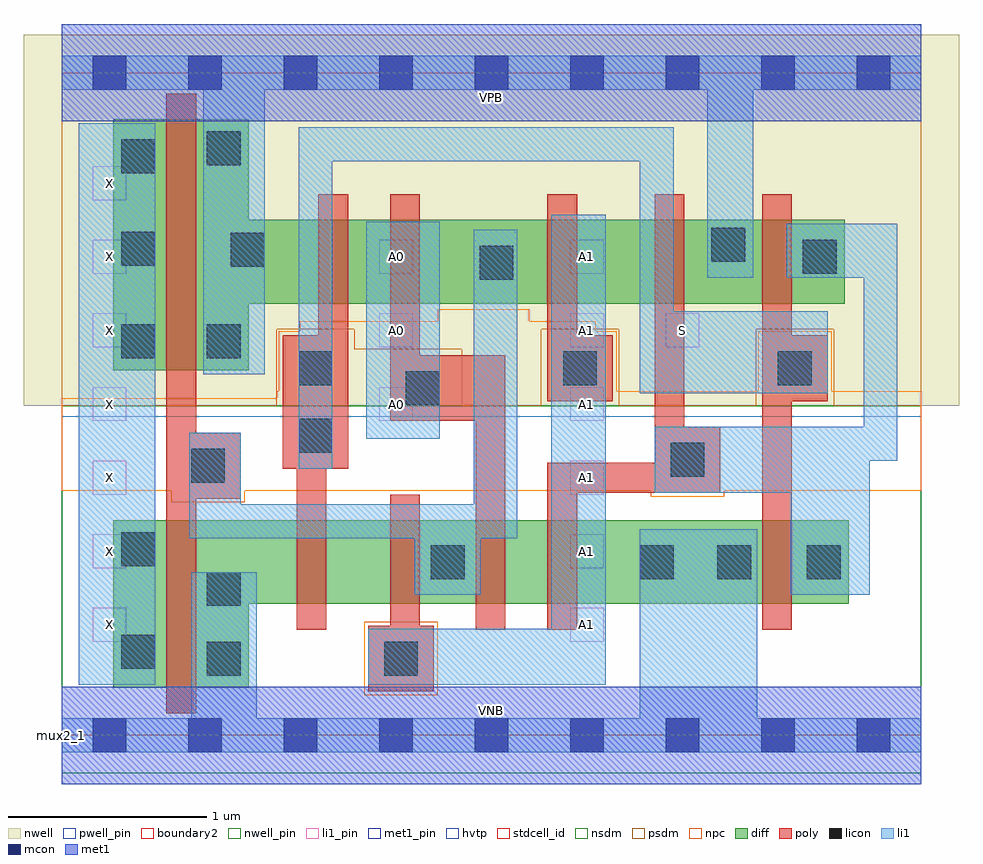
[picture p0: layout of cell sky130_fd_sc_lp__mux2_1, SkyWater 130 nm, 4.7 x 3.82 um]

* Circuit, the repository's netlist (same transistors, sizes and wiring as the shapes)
* Copyright 2020 The SkyWater PDK Authors
*
* Licensed under the Apache License, Version 2.0 (the "License");
* you may not use this file except in compliance with the License.
* You may obtain a copy of the License at
*
*     https://www.apache.org/licenses/LICENSE-2.0
*
* Unless required by applicable law or agreed to in writing, software
* distributed under the License is distributed on an "AS IS" BASIS,
* WITHOUT WARRANTIES OR CONDITIONS OF ANY KIND, either express or implied.
* See the License for the specific language governing permissions and
* limitations under the License.
*
* SPDX-License-Identifier: Apache-2.0

.SUBCKT sky130_fd_sc_lp__mux2_1 A0 A1 S VGND VNB VPB VPWR X
*.PININFO A0:I A1:I S:I VGND:I VNB:I VPB:I VPWR:I X:O
MMNA00 xb A0 smdNA0 VNB sky130_fd_pr__nfet_01v8 m=1 w=0.42U l=0.15U mult=1 sa=0.265
+ sb=0.265 sd=0.28 area=0.063 perim=1.14
MMNA01 smdNA0 Sb VGND VNB sky130_fd_pr__nfet_01v8 m=1 w=0.42U l=0.15U mult=1 sa=0.265
+ sb=0.265 sd=0.28 area=0.063 perim=1.14
MMNA10 xb A1 sndNA1 VNB sky130_fd_pr__nfet_01v8 m=1 w=0.42U l=0.15U mult=1 sa=0.265
+ sb=0.265 sd=0.28 area=0.063 perim=1.14
MMNA11 sndNA1 S VGND VNB sky130_fd_pr__nfet_01v8 m=1 w=0.42U l=0.15U mult=1 sa=0.265
+ sb=0.265 sd=0.28 area=0.063 perim=1.14
MMIN1 Sb S VGND VNB sky130_fd_pr__nfet_01v8 m=1 w=0.42U l=0.15U mult=1 sa=0.265
+ sb=0.265 sd=0.28 area=0.063 perim=1.14
MMIN2 X xb VGND VNB sky130_fd_pr__nfet_01v8 m=1 w=0.84U l=0.15U mult=1 sa=0.265
+ sb=0.265 sd=0.28 area=0.063 perim=1.14
MMPA00 VPWR S sndPS VPB sky130_fd_pr__pfet_01v8_hvt m=1 w=0.42U l=0.15U mult=1
+ sa=0.265 sb=0.265 sd=0.28 area=0.063 perim=1.14
MMPA01 sndPS A0 xb VPB sky130_fd_pr__pfet_01v8_hvt m=1 w=0.42U l=0.15U mult=1 sa=0.265
+ sb=0.265 sd=0.28 area=0.063 perim=1.14
MMPA10 VPWR Sb sndPSb VPB sky130_fd_pr__pfet_01v8_hvt m=1 w=0.42U l=0.15U mult=1
+ sa=0.265 sb=0.265 sd=0.28 area=0.063 perim=1.14
MMPA11 sndPSb A1 xb VPB sky130_fd_pr__pfet_01v8_hvt m=1 w=0.42U l=0.15U mult=1
+ sa=0.265 sb=0.265 sd=0.28 area=0.063 perim=1.14
MMIP1 Sb S VPWR VPB sky130_fd_pr__pfet_01v8_hvt m=1 w=0.42U l=0.15U mult=1 sa=0.265
+ sb=0.265 sd=0.28 area=0.063 perim=1.14
MMIP2 X xb VPWR VPB sky130_fd_pr__pfet_01v8_hvt m=1 w=1.26U l=0.15U mult=1 sa=0.265
+ sb=0.265 sd=0.28 area=0.063 perim=1.14
.ENDS sky130_fd_sc_lp__mux2_1

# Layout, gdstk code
import gdstk
lib = gdstk.Library(unit=1e-6, precision=1e-09)
def R(c, l, rs):  # rectangles x0, y0, x1, y1
    for r in rs: c.add(gdstk.rectangle(r[:2], r[2:], *l))
def A(c, l, x, y, w, h, nx, ny, dx, dy):  # array of equal rectangles
    R(c, l, [(x+i*dx, y+j*dy, x+i*dx+w, y+j*dy+h) for i in range(nx) for j in range(ny)])
def P(c, l, *ps):  # polygons
    for p in ps: c.add(gdstk.Polygon(p, *l))
nwell_pin = (64, 16)
nwell = (64, 20)
diff = (65, 20)
poly = (66, 20)
licon = (66, 44)
li1_pin = (67, 16)
li1 = (67, 20)
mcon = (67, 44)
met1_pin = (68, 16)
met1 = (68, 20)
hvtp = (78, 44)
stdcell_id = (81, 4)
nsdm = (93, 44)
psdm = (94, 20)
npc = (95, 20)
pwell_pin = (122, 16)
boundary2 = (236, 0)

sky130_fd_sc_lp__mux2_1 = lib.new_cell('sky130_fd_sc_lp__mux2_1')
R(sky130_fd_sc_lp__mux2_1, nwell_pin, [(0,3.085,4.32,3.33)])
R(sky130_fd_sc_lp__mux2_1, nwell, [(-0.19,1.655,4.51,3.52)])
P(sky130_fd_sc_lp__mux2_1, diff, [(3.935,2.59),(0.94,2.59),(0.94,3.095),(0.26,3.095),(0.26,1.835),(0.94,1.835),(0.94,2.17),(3.935,2.17)],
  [(3.955,1.08),(0.26,1.08),(0.26,0.24),(0.94,0.24),(0.94,0.66),(3.955,0.66)])
P(sky130_fd_sc_lp__mux2_1, poly, [(0.9,1.52),(0.675,1.52),(0.675,3.225),(0.525,3.225),(0.525,0.11),(0.675,0.11),(0.675,1.19),(0.9,1.19)],
  [(1.44,2.72),(1.29,2.72),(1.29,2.01),(1.11,2.01),(1.11,1.34),(1.18,1.34),(1.18,0.53),(1.33,0.53),(1.33,1.34),(1.44,1.34)],
  [(1.87,0.55),(1.8,0.55),(1.8,1.21),(1.65,1.21),(1.65,0.55),(1.54,0.55),(1.54,0.22),(1.87,0.22)],
  [(2.23,1.91),(1.8,1.91),(1.8,2.72),(1.65,2.72),(1.65,1.58),(2.08,1.58),(2.08,0.53),(2.23,0.53)],
  [(2.77,2.01),(2.59,2.01),(2.59,2.72),(2.44,2.72),(2.44,1.68),(2.77,1.68)],
  [(3.31,1.55),(3.13,1.55),(3.13,2.72),(2.98,2.72),(2.98,1.37),(2.44,1.37),(2.44,0.53),(2.59,0.53),(2.59,1.22),(3.31,1.22)],
  [(3.85,2.01),(3.67,2.01),(3.67,2.72),(3.52,2.72),(3.52,0.53),(3.67,0.53),(3.67,1.68),(3.85,1.68)])
A(sky130_fd_sc_lp__mux2_1, licon, 0.3, 1.895, 0.17, 0.17, 1, 3, 0, 0.465)
R(sky130_fd_sc_lp__mux2_1, licon, [(0.73,0.3,0.9,0.47), (1.62,0.3,1.79,0.47), (0.3,0.335,0.47,0.505), (0.73,0.65,0.9,0.82), (1.855,0.785,2.025,0.955), (2.905,0.785,3.075,0.955), (3.295,0.785,3.465,0.955), (3.745,0.785,3.915,0.955), (0.3,0.85,0.47,1.02), (0.65,1.27,0.82,1.44), (3.06,1.3,3.23,1.47), (1.19,1.42,1.36,1.59), (1.73,1.66,1.9,1.83), (1.19,1.76,1.36,1.93), (2.52,1.76,2.69,1.93), (3.6,1.76,3.77,1.93), (0.73,1.895,0.9,2.065), (2.1,2.29,2.27,2.46), (3.725,2.32,3.895,2.49), (0.85,2.355,1.02,2.525), (3.265,2.38,3.435,2.55), (0.73,2.865,0.9,3.035)])
A(sky130_fd_sc_lp__mux2_1, li1_pin, 0.155, 0.47, 0.17, 0.17, 1, 7, 0, 0.37)
A(sky130_fd_sc_lp__mux2_1, li1_pin, 2.555, 0.47, 0.17, 0.17, 1, 6, 0, 0.37)
A(sky130_fd_sc_lp__mux2_1, li1_pin, 1.595, 1.58, 0.17, 0.17, 1, 3, 0, 0.37)
R(sky130_fd_sc_lp__mux2_1, li1_pin, [(3.035,1.95,3.205,2.12)])
R(sky130_fd_sc_lp__mux2_1, li1, [(0.085,0.255,0.47,3.075), (1.53,1.49,1.9,2.58)])
P(sky130_fd_sc_lp__mux2_1, li1, [(0.71,1.815),(0.71,3.245),(0,3.245),(0,3.415),(4.32,3.415),(4.32,3.245),(3.475,3.245),(3.475,2.3),(3.245,2.3),(3.245,3.245),(1.02,3.245),(1.02,1.815)],
  [(0.65,0.085),(0.65,0.82),(0.98,0.82),(0.98,0.085),(2.905,0.085),(2.905,1.035),(3.495,1.035),(3.495,0.085),(4.32,0.085),(4.32,-0.085),(0,-0.085),(0,0.085)],
  [(2.905,1.72),(2.905,2.885),(1.36,2.885),(1.36,1.34),(1.19,1.34),(1.19,3.055),(3.075,3.055),(3.075,2.13),(3.85,2.13),(3.85,1.72)],
  [(4.03,1.55),(4.03,2.3),(3.645,2.3),(3.645,2.57),(4.2,2.57),(4.2,1.38),(4.06,1.38),(4.06,0.705),(3.665,0.705),(3.665,1.22),(2.98,1.22),(2.98,1.55)],
  [(2.46,0.535),(2.46,2.615),(2.735,2.615),(2.735,0.255),(1.54,0.255),(1.54,0.535)],
  [(2.07,1.16),(2.07,2.54),(2.29,2.54),(2.29,0.99),(2.105,0.99),(2.105,0.705),(1.775,0.705),(1.775,0.99),(0.64,0.99),(0.64,1.52),(0.9,1.52),(0.9,1.16)])
A(sky130_fd_sc_lp__mux2_1, mcon, 0.155, -0.085, 0.17, 0.17, 9, 2, 0.48, 3.33)
R(sky130_fd_sc_lp__mux2_1, met1_pin, [(0,0,4.32,0.245), (0,3.085,4.32,3.33)])
R(sky130_fd_sc_lp__mux2_1, met1, [(0,-0.245,4.32,0.245), (0,3.085,4.32,3.575)])
R(sky130_fd_sc_lp__mux2_1, hvtp, [(0,1.6,4.32,3.33)])
R(sky130_fd_sc_lp__mux2_1, stdcell_id, [(0,0,4.32,3.33)])
R(sky130_fd_sc_lp__mux2_1, nsdm, [(0,-0.19,4.32,1.655)])
P(sky130_fd_sc_lp__mux2_1, psdm, [(4.32,3.52),(0,3.52),(0,1.655),(1.08,1.655),(1.08,2.04),(1.47,2.04),(1.47,1.94),(2.01,1.94),(2.01,1.655),(2.41,1.655),(2.41,2.04),(2.8,2.04),(2.8,1.655),(3.49,1.655),(3.49,2.04),(3.88,2.04),(3.88,1.655),(4.32,1.655)])
R(sky130_fd_sc_lp__mux2_1, npc, [(1.52,0.2,1.89,0.57)])
P(sky130_fd_sc_lp__mux2_1, npc, [(4.32,1.73),(3.87,1.73),(3.87,2.03),(3.5,2.03),(3.5,1.73),(2.79,1.73),(2.79,2.03),(2.685,2.03),(2.685,2.08),(2.35,2.08),(2.35,2.14),(1.89,2.14),(1.89,2.08),(1.195,2.08),(1.195,2.03),(1.09,2.03),(1.09,1.73),(1.08,1.73),(1.08,1.695),(0,1.695),(0,1.23),(0.55,1.23),(0.55,1.17),(0.92,1.17),(0.92,1.23),(2.96,1.23),(2.96,1.2),(3.33,1.2),(3.33,1.23),(4.32,1.23)])
R(sky130_fd_sc_lp__mux2_1, pwell_pin, [(0,0,4.32,0.245)])
R(sky130_fd_sc_lp__mux2_1, boundary2, [(0,0,4.32,3.33)])
sky130_fd_sc_lp__mux2_1.add(gdstk.Label('VNB', (2.16,0.123), layer=64, texttype=59))
sky130_fd_sc_lp__mux2_1.add(gdstk.Label('VPB', (2.16,3.208), layer=64, texttype=5))
sky130_fd_sc_lp__mux2_1.add(gdstk.Label('mux2_1', (0,0), layer=83, texttype=44))
sky130_fd_sc_lp__mux2_1.add(gdstk.Label('VPWR', (2.16,3.208), layer=68, texttype=5))
sky130_fd_sc_lp__mux2_1.add(gdstk.Label('VGND', (2.16,0.123), layer=68, texttype=5))
sky130_fd_sc_lp__mux2_1.add(gdstk.Label('S', (3.12,2.035), layer=67, texttype=5))
sky130_fd_sc_lp__mux2_1.add(gdstk.Label('A0', (1.68,1.665), layer=67, texttype=5))
sky130_fd_sc_lp__mux2_1.add(gdstk.Label('A0', (1.68,2.035), layer=67, texttype=5))
sky130_fd_sc_lp__mux2_1.add(gdstk.Label('A0', (1.68,2.405), layer=67, texttype=5))
sky130_fd_sc_lp__mux2_1.add(gdstk.Label('X', (0.24,0.555), layer=67, texttype=5))
sky130_fd_sc_lp__mux2_1.add(gdstk.Label('X', (0.24,0.925), layer=67, texttype=5))
sky130_fd_sc_lp__mux2_1.add(gdstk.Label('X', (0.24,1.295), layer=67, texttype=5))
sky130_fd_sc_lp__mux2_1.add(gdstk.Label('X', (0.24,1.665), layer=67, texttype=5))
sky130_fd_sc_lp__mux2_1.add(gdstk.Label('X', (0.24,2.035), layer=67, texttype=5))
sky130_fd_sc_lp__mux2_1.add(gdstk.Label('X', (0.24,2.405), layer=67, texttype=5))
sky130_fd_sc_lp__mux2_1.add(gdstk.Label('X', (0.24,2.775), layer=67, texttype=5))
sky130_fd_sc_lp__mux2_1.add(gdstk.Label('A1', (2.64,0.555), layer=67, texttype=5))
sky130_fd_sc_lp__mux2_1.add(gdstk.Label('A1', (2.64,0.925), layer=67, texttype=5))
sky130_fd_sc_lp__mux2_1.add(gdstk.Label('A1', (2.64,1.295), layer=67, texttype=5))
sky130_fd_sc_lp__mux2_1.add(gdstk.Label('A1', (2.64,1.665), layer=67, texttype=5))
sky130_fd_sc_lp__mux2_1.add(gdstk.Label('A1', (2.64,2.035), layer=67, texttype=5))
sky130_fd_sc_lp__mux2_1.add(gdstk.Label('A1', (2.64,2.405), layer=67, texttype=5))

lib.write_gds('sky130_fd_sc_lp__mux2_1.gds')
